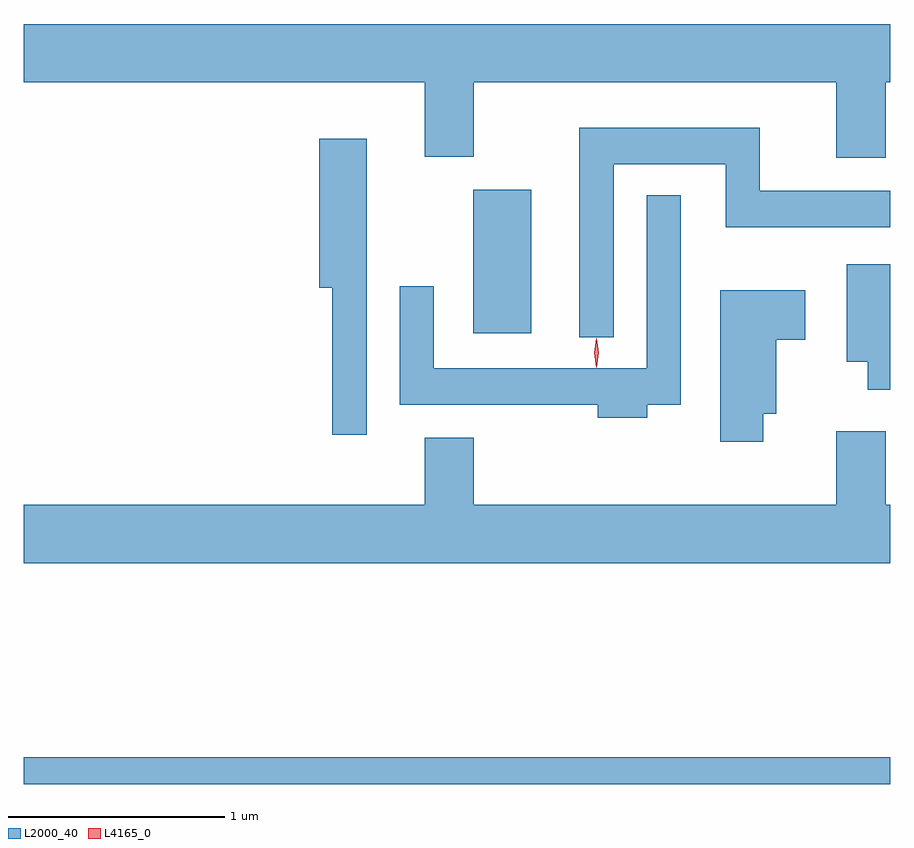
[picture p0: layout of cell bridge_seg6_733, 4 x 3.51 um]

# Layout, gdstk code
import gdstk
lib = gdstk.Library(unit=1e-6, precision=1e-09)
def R(c, l, rs):  # rectangles x0, y0, x1, y1
    for r in rs: c.add(gdstk.rectangle(r[:2], r[2:], *l))
def P(c, l, *ps):  # polygons
    for p in ps: c.add(gdstk.Polygon(p, *l))
L2000_40 = (2000, 40)
L4165_0 = (4165, 0)

bridge_seg6_733 = lib.new_cell('bridge_seg6_733')
R(bridge_seg6_733, L2000_40, [(495.871,1533.476,499.871,1533.599), (497.946,1535.556,498.214,1536.219)])
P(bridge_seg6_733, L2000_40, [(499.849,1536.716),(499.871,1536.716),(499.871,1536.984),(495.871,1536.984),(495.871,1536.716),(497.721,1536.716),(497.721,1536.371),(497.949,1536.371),(497.949,1536.716),(499.621,1536.716),(499.621,1536.366),(499.849,1536.366)],
  [(498.594,1536.336),(499.111,1536.336),(499.111,1536.046),(499.871,1536.046),(499.871,1536.214),(499.269,1536.214),(499.269,1536.504),(498.436,1536.504),(498.436,1535.538),(498.594,1535.538)],
  [(497.454,1536.454),(497.236,1536.454),(497.236,1535.766),(497.296,1535.766),(497.296,1535.088),(497.454,1535.088)],
  [(498.749,1535.226),(498.904,1535.226),(498.904,1536.193),(498.746,1536.193),(498.746,1535.394),(497.764,1535.394),(497.764,1535.773),(497.606,1535.773),(497.606,1535.226),(498.521,1535.226),(498.521,1535.166),(498.749,1535.166)],
  [(499.871,1535.874),(499.671,1535.874),(499.671,1535.426),(499.766,1535.426),(499.766,1535.296),(499.871,1535.296)],
  [(499.284,1535.186),(499.344,1535.186),(499.344,1535.526),(499.479,1535.526),(499.479,1535.754),(499.086,1535.754),(499.086,1535.056),(499.284,1535.056)],
  [(499.871,1534.764),(499.849,1534.764),(499.849,1535.104),(499.621,1535.104),(499.621,1534.764),(497.949,1534.764),(497.949,1535.074),(497.721,1535.074),(497.721,1534.764),(495.871,1534.764),(495.871,1534.496),(499.871,1534.496)])
P(bridge_seg6_733, L4165_0, [(498.515,1535.399),(498.514,1535.4),(498.505,1535.466),(498.514,1535.532),(498.515,1535.533),(498.515,1535.532),(498.525,1535.466),(498.515,1535.4)])

lib.write_gds('bridge_seg6_733.gds')
